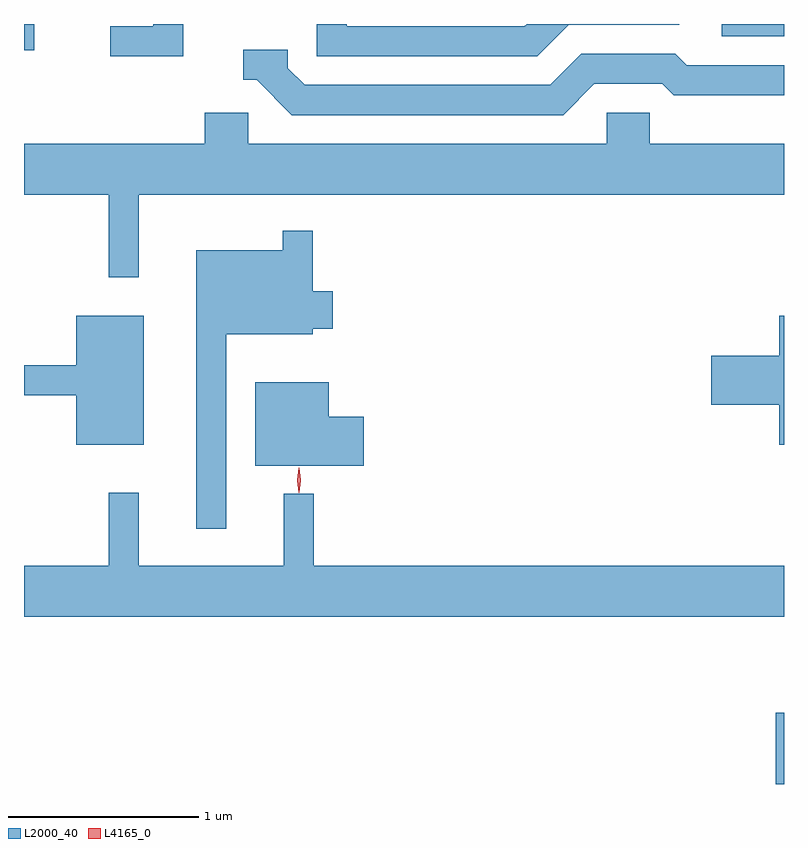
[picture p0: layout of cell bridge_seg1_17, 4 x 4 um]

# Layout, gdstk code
import gdstk
lib = gdstk.Library(unit=1e-6, precision=1e-09)
def R(c, l, rs):  # rectangles x0, y0, x1, y1
    for r in rs: c.add(gdstk.rectangle(r[:2], r[2:], *l))
def P(c, l, *ps):  # polygons
    for p in ps: c.add(gdstk.Polygon(p, *l))
L2000_40 = (2000, 40)
L4165_0 = (4165, 0)

bridge_seg1_17 = lib.new_cell('bridge_seg1_17')
R(bridge_seg1_17, L2000_40, [(1539.126,894.255,1539.17,894.629), (1535.17,898.116,1535.224,898.255), (1538.843,898.191,1539.17,898.255)])
P(bridge_seg1_17, L2000_40, [(1536.009,898.255),(1535.851,898.255),(1535.851,898.244),(1535.623,898.244),(1535.623,898.086),(1536.009,898.086)],
  [(1538.037,898.251),(1538.619,898.251),(1538.619,898.255),(1537.815,898.255),(1537.804,898.244),(1536.869,898.244),(1536.869,898.255),(1536.711,898.255),(1536.711,898.086),(1537.872,898.086)],
  [(1538.172,897.941),(1538.529,897.941),(1538.589,897.881),(1539.17,897.881),(1539.17,898.039),(1538.657,898.039),(1538.597,898.099),(1538.104,898.099),(1537.939,897.934),(1536.647,897.934),(1536.559,898.022),(1536.559,898.119),(1536.323,898.119),(1536.323,897.961),(1536.394,897.961),(1536.579,897.776),(1538.007,897.776)],
  [(1535.774,897.356),(1539.17,897.356),(1539.17,897.624),(1538.464,897.624),(1538.464,897.789),(1538.236,897.789),(1538.236,897.624),(1536.349,897.624),(1536.349,897.789),(1536.121,897.789),(1536.121,897.624),(1535.17,897.624),(1535.17,897.356),(1535.616,897.356),(1535.616,896.923),(1535.774,896.923)],
  [(1536.234,896.621),(1536.689,896.621),(1536.689,896.651),(1536.794,896.651),(1536.794,896.849),(1536.689,896.849),(1536.689,897.168),(1536.531,897.168),(1536.531,897.064),(1536.076,897.064),(1536.076,895.598),(1536.234,895.598)],
  [(1539.17,896.719),(1539.146,896.719),(1539.146,896.509),(1538.786,896.509),(1538.786,896.251),(1539.146,896.251),(1539.146,896.041),(1539.17,896.041)],
  [(1535.799,896.719),(1535.446,896.719),(1535.446,896.459),(1535.17,896.459),(1535.17,896.301),(1535.446,896.301),(1535.446,896.041),(1535.799,896.041)],
  [(1536.959,896.189),(1536.774,896.189),(1536.774,896.369),(1536.386,896.369),(1536.386,895.931),(1536.959,895.931)],
  [(1539.17,895.404),(1536.694,895.404),(1536.694,895.783),(1536.536,895.783),(1536.536,895.404),(1535.774,895.404),(1535.774,895.788),(1535.616,895.788),(1535.616,895.404),(1535.17,895.404),(1535.17,895.136),(1539.17,895.136)])
P(bridge_seg1_17, L4165_0, [(1536.616,895.789),(1536.607,895.854),(1536.616,895.919),(1536.617,895.92),(1536.618,895.919),(1536.627,895.854),(1536.618,895.789),(1536.617,895.789)])

lib.write_gds('bridge_seg1_17.gds')
